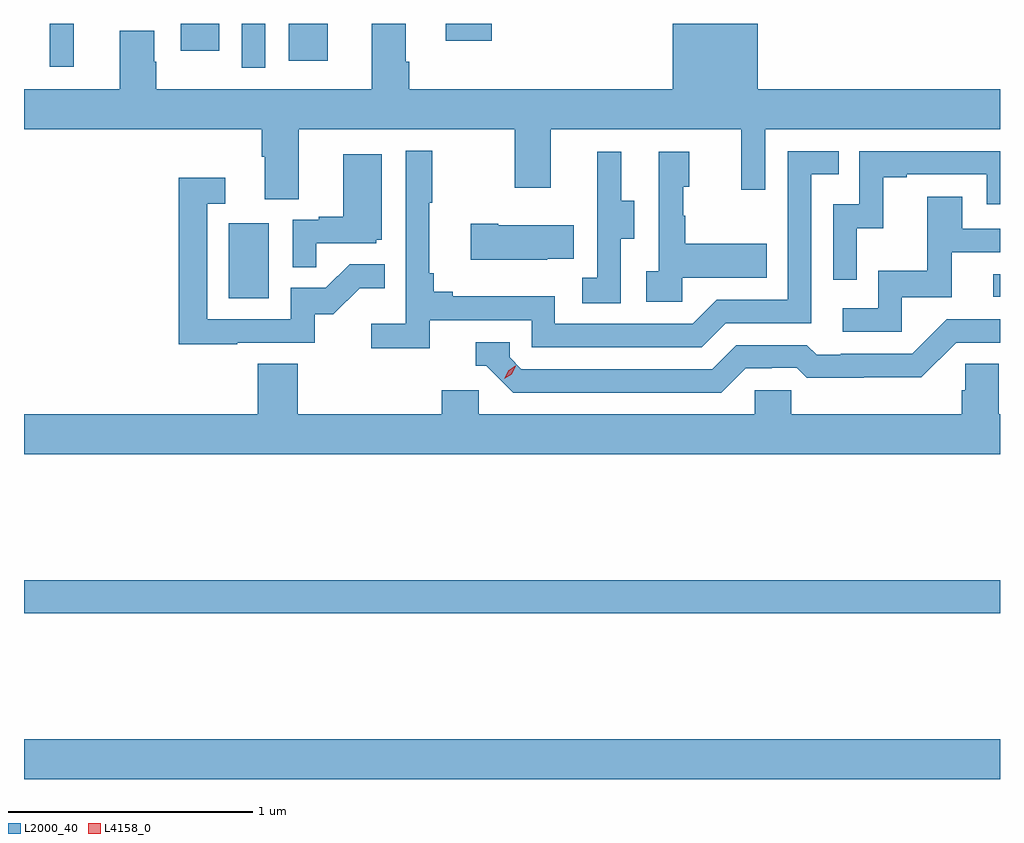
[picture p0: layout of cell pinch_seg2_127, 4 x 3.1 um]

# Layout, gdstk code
import gdstk
lib = gdstk.Library(unit=1e-6, precision=1e-09)
def R(c, l, rs):  # rectangles x0, y0, x1, y1
    for r in rs: c.add(gdstk.rectangle(r[:2], r[2:], *l))
def P(c, l, *ps):  # polygons
    for p in ps: c.add(gdstk.Polygon(p, *l))
L2000_40 = (2000, 40)
L4158_0 = (4158, 0)

pinch_seg2_127 = lib.new_cell('pinch_seg2_127')
R(pinch_seg2_127, L2000_40, [(1044.488,624.992,1048.488,625.156), (1044.488,625.672,1048.488,625.808), (1045.328,626.964,1045.492,627.271), (1048.461,626.97,1048.488,627.063), (1045.38,627.909,1045.476,628.089), (1044.593,627.912,1044.692,628.089), (1045.574,627.936,1045.732,628.089), (1045.13,627.978,1045.288,628.089), (1046.217,628.02,1046.405,628.089)])
P(pinch_seg2_127, L2000_40, [(1045.615,627.656),(1046.5,627.656),(1046.5,627.417),(1046.647,627.417),(1046.647,627.656),(1047.428,627.656),(1047.428,627.408),(1047.525,627.408),(1047.525,627.656),(1048.488,627.656),(1048.488,627.82),(1047.496,627.82),(1047.496,628.089),(1047.146,628.089),(1047.146,627.82),(1046.066,627.82),(1046.066,627.932),(1046.053,627.932),(1046.053,628.089),(1045.913,628.089),(1045.913,627.82),(1045.029,627.82),(1045.029,627.932),(1045.021,627.932),(1045.021,628.06),(1044.881,628.06),(1044.881,627.82),(1044.488,627.82),(1044.488,627.656),(1045.463,627.656),(1045.463,627.544),(1045.475,627.544),(1045.475,627.37),(1045.615,627.37)],
  [(1046.15,626.874),(1046.568,626.874),(1046.568,626.763),(1047.265,626.763),(1047.364,626.862),(1047.714,626.862),(1047.714,627.471),(1047.827,627.471),(1047.827,627.567),(1047.618,627.567),(1047.618,626.958),(1047.327,626.958),(1047.228,626.859),(1046.664,626.859),(1046.664,626.971),(1046.245,626.971),(1046.245,626.99),(1046.168,626.99),(1046.168,627.067),(1046.149,627.067),(1046.149,627.355),(1046.161,627.355),(1046.161,627.568),(1046.052,627.568),(1046.052,626.86),(1045.911,626.86),(1045.911,626.758),(1046.15,626.758)],
  [(1047.9,627.251),(1048.01,627.251),(1048.01,627.459),(1048.105,627.459),(1048.105,627.471),(1048.434,627.471),(1048.434,627.348),(1048.488,627.348),(1048.488,627.567),(1047.912,627.567),(1047.912,627.348),(1047.804,627.348),(1047.804,627.039),(1047.9,627.039)],
  [(1046.934,627.208),(1046.989,627.208),(1046.989,627.363),(1046.935,627.363),(1046.935,627.565),(1046.837,627.565),(1046.837,627.351),(1046.838,627.351),(1046.838,627.047),(1046.775,627.047),(1046.775,626.944),(1046.934,626.944)],
  [(1047.186,627.047),(1047.533,627.047),(1047.533,627.187),(1047.199,627.187),(1047.199,627.302),(1047.189,627.302),(1047.189,627.42),(1047.214,627.42),(1047.214,627.565),(1047.09,627.565),(1047.09,627.074),(1047.039,627.074),(1047.039,626.949),(1047.186,626.949)],
  [(1045.685,627.189),(1045.932,627.189),(1045.932,627.204),(1045.954,627.204),(1045.954,627.553),(1045.796,627.553),(1045.796,627.298),(1045.697,627.298),(1045.697,627.285),(1045.59,627.285),(1045.59,627.091),(1045.685,627.091)],
  [(1045.361,626.781),(1045.68,626.781),(1045.68,626.898),(1045.756,626.898),(1045.863,627.005),(1045.967,627.005),(1045.967,627.104),(1045.823,627.104),(1045.725,627.006),(1045.581,627.006),(1045.581,626.877),(1045.239,626.877),(1045.239,627.351),(1045.312,627.351),(1045.312,627.457),(1045.123,627.457),(1045.123,626.776),(1045.361,626.776)],
  [(1048.086,626.967),(1048.291,626.967),(1048.291,627.153),(1048.488,627.153),(1048.488,627.249),(1048.333,627.249),(1048.333,627.379),(1048.189,627.379),(1048.189,627.076),(1047.99,627.076),(1047.99,626.922),(1047.843,626.922),(1047.843,626.826),(1048.086,626.826)],
  [(1046.633,627.125),(1046.741,627.125),(1046.741,627.262),(1046.431,627.262),(1046.431,627.27),(1046.319,627.27),(1046.319,627.122),(1046.633,627.122)],
  [(1047.445,626.676),(1047.552,626.676),(1047.552,626.679),(1047.655,626.679),(1047.697,626.637),(1047.93,626.637),(1047.93,626.639),(1048.166,626.639),(1048.308,626.781),(1048.488,626.781),(1048.488,626.877),(1048.269,626.877),(1048.128,626.736),(1047.835,626.736),(1047.835,626.733),(1047.736,626.733),(1047.697,626.772),(1047.408,626.772),(1047.309,626.673),(1046.526,626.673),(1046.478,626.721),(1046.478,626.784),(1046.339,626.784),(1046.339,626.688),(1046.382,626.688),(1046.493,626.577),(1047.346,626.577)],
  [(1048.488,626.488),(1048.482,626.488),(1048.482,626.696),(1048.345,626.696),(1048.345,626.586),(1048.331,626.586),(1048.331,626.488),(1047.633,626.488),(1047.633,626.586),(1047.483,626.586),(1047.483,626.488),(1046.352,626.488),(1046.352,626.586),(1046.201,626.586),(1046.201,626.488),(1045.61,626.488),(1045.61,626.696),(1045.445,626.696),(1045.445,626.488),(1044.488,626.488),(1044.488,626.324),(1048.488,626.324)])
P(pinch_seg2_127, L4158_0, [(1046.457,626.633),(1046.457,626.634),(1046.472,626.666),(1046.502,626.686),(1046.503,626.686),(1046.503,626.686),(1046.487,626.653),(1046.457,626.633)])

lib.write_gds('pinch_seg2_127.gds')
